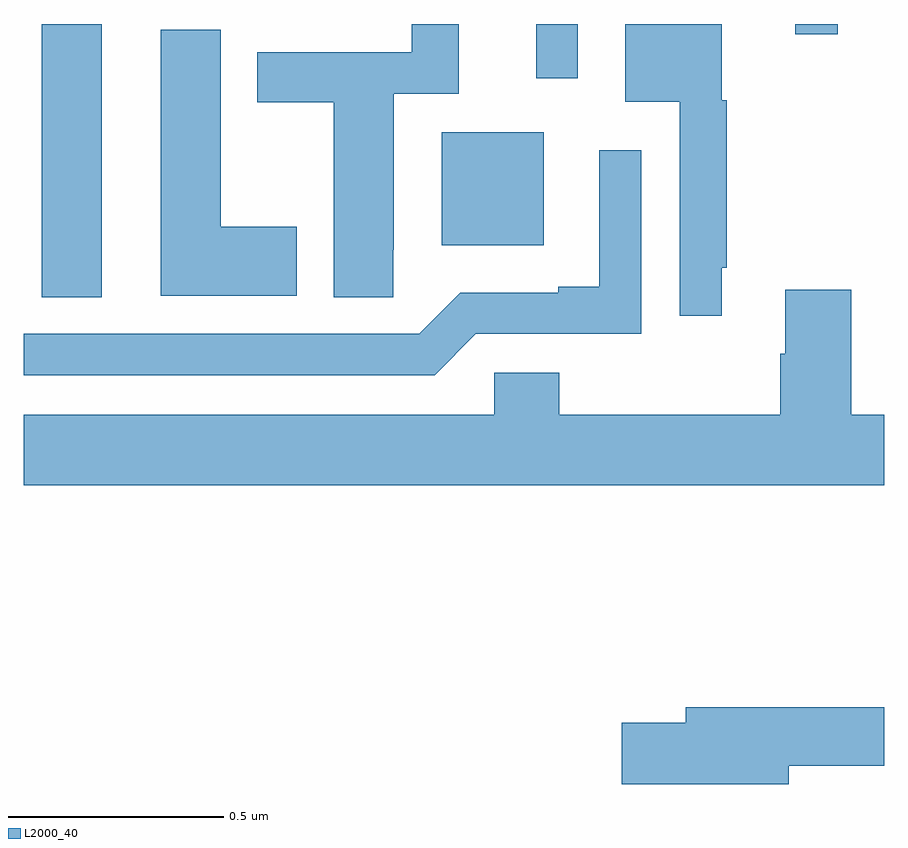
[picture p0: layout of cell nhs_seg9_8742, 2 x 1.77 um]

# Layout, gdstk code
import gdstk
lib = gdstk.Library(unit=1e-6, precision=1e-09)
def R(c, l, rs):  # rectangles x0, y0, x1, y1
    for r in rs: c.add(gdstk.rectangle(r[:2], r[2:], *l))
def P(c, l, *ps):  # polygons
    for p in ps: c.add(gdstk.Polygon(p, *l))
L2000_40 = (2000, 40)

nhs_seg9_8742 = lib.new_cell('nhs_seg9_8742')
R(nhs_seg9_8742, L2000_40, [(221.042,1188.865,221.182,1189.5), (221.972,1188.986,222.208,1189.249), (222.191,1189.374,222.288,1189.5), (222.793,1189.476,222.892,1189.5)])
P(nhs_seg9_8742, L2000_40, [(222.622,1188.934),(222.634,1188.934),(222.634,1189.323),(222.622,1189.323),(222.622,1189.5),(222.398,1189.5),(222.398,1189.319),(222.525,1189.319),(222.525,1188.822),(222.622,1188.822)],
  [(221.859,1188.976),(221.86,1188.976),(221.86,1189.338),(222.011,1189.338),(222.011,1189.5),(221.902,1189.5),(221.902,1189.434),(221.543,1189.434),(221.543,1189.318),(221.72,1189.318),(221.72,1188.865),(221.859,1188.865)],
  [(221.635,1189.029),(221.458,1189.029),(221.458,1189.487),(221.319,1189.487),(221.319,1189.379),(221.318,1189.379),(221.318,1188.869),(221.635,1188.869)],
  [(222.051,1188.78),(222.435,1188.78),(222.435,1189.207),(222.338,1189.207),(222.338,1188.889),(222.242,1188.889),(222.242,1188.876),(222.015,1188.876),(221.919,1188.78),(221,1188.78),(221,1188.684),(221.955,1188.684)],
  [(223,1188.592),(222.923,1188.592),(222.923,1188.883),(222.77,1188.883),(222.77,1188.734),(222.758,1188.734),(222.758,1188.592),(222.245,1188.592),(222.245,1188.69),(222.093,1188.69),(222.093,1188.592),(221,1188.592),(221,1188.428),(223,1188.428)],
  [(222.778,1187.776),(223,1187.776),(223,1187.912),(222.539,1187.912),(222.539,1187.876),(222.39,1187.876),(222.39,1187.734),(222.778,1187.734)])

lib.write_gds('nhs_seg9_8742.gds')
